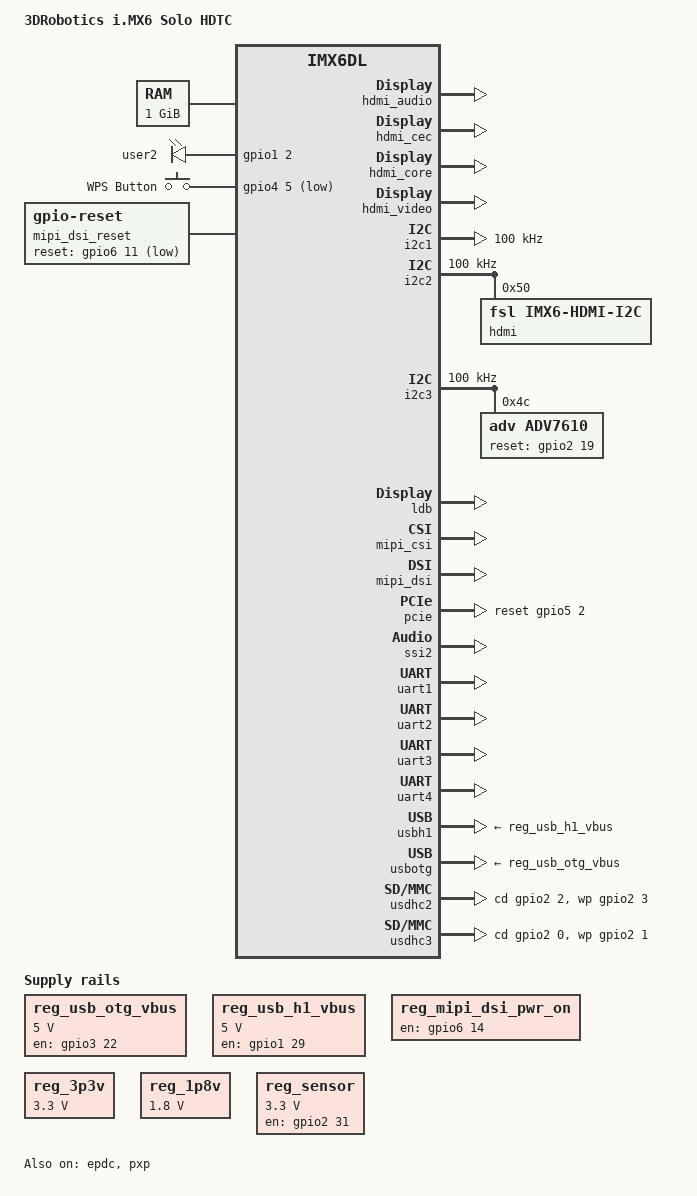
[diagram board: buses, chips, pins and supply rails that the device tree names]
/*
 * Copyright (C) 2013 Freescale Semiconductor, Inc.
 *
 * This program is free software; you can redistribute it and/or modify
 * it under the terms of the GNU General Public License version 2 as
 * published by the Free Software Foundation.
 */

/dts-v1/;

#include "imx6dl.dtsi"

/ {
	model = "3DRobotics i.MX6 Solo HDTC";
	compatible = "fsl,imx6dl-sabresd", "fsl,imx6dl";
};

/ {
	aliases {
		mxcfb0 = &mxcfb1;
		mxcfb1 = &mxcfb2;
		mxcfb2 = &mxcfb3;
		mxcfb3 = &mxcfb4;
	};

	memory {
		reg = <0x10000000 0x40000000>;
	};

	leds {
		compatible = "gpio-leds";
		
		led1: user2 {
			label = "user2";
			gpios = <&gpio1 2 GPIO_ACTIVE_HIGH>;
			default-state = "off";
			linux,default-trigger = "phy0assoc";
		};
	};

	regulators {
		compatible = "simple-bus";

		reg_usb_otg_vbus: usb_otg_vbus {
			compatible = "regulator-fixed";
			regulator-name = "usb_otg_vbus";
			regulator-min-microvolt = <5000000>;
			regulator-max-microvolt = <5000000>;
			gpio = <&gpio3 22 0>;
			enable-active-high;
		};

		reg_usb_h1_vbus: usb_h1_vbus {
			compatible = "regulator-fixed";
			regulator-name = "usb_h1_vbus";
			regulator-min-microvolt = <5000000>;
			regulator-max-microvolt = <5000000>;
			gpio = <&gpio1 29 0>;
			enable-active-high;
		};

		reg_mipi_dsi_pwr_on: mipi_dsi_pwr_on {
			compatible = "regulator-fixed";
			regulator-name = "mipi_dsi_pwr_on";
			gpio = <&gpio6 14 0>;
			enable-active-high;
		};

		reg_3p3v: 3p3v {
			compatible = "regulator-fixed";
			regulator-name = "3P3V";
			regulator-min-microvolt = <3300000>;
			regulator-max-microvolt = <3300000>;
			regulator-always-on;
		};

		reg_1p8v: 1p8v {
			compatible = "regulator-fixed";
			regulator-name = "1P8V";
			regulator-min-microvolt = <1800000>;
			regulator-max-microvolt = <1800000>;
			regulator-always-on;
		};

		reg_sensor: sensor_supply {
			compatible = "regulator-fixed";
			regulator-name = "sensor-supply";
			regulator-min-microvolt = <3300000>;
			regulator-max-microvolt = <3300000>;
			gpio = <&gpio2 31 0>;
			startup-delay-us = <500>;
			enable-active-high;
		};
	};

	gpio-keys {
		compatible = "gpio-keys";
		
		wps-pairing {
			label = "WPS Button";
			gpios = <&gpio4 5 GPIO_ACTIVE_LOW>;
			linux,code = <0x211>; //KEY_WPS_BUTTON
		};
	};

	sound-hdmi {
		compatible = "fsl,imx6q-audio-hdmi",
			     "fsl,imx-audio-hdmi";
		model = "imx-audio-hdmi";
		hdmi-controller = <&hdmi_audio>;
	};

	mxcfb1: fb@0 {
		compatible = "fsl,mxc_sdc_fb";
		disp_dev = "ldb";
		interface_pix_fmt = "RGB666";
		mode_str ="LDB-XGA";
		default_bpp = <16>;
		int_clk = <0>;
		late_init = <0>;
		status = "disabled";
	};

	mxcfb2: fb@1 {
		compatible = "fsl,mxc_sdc_fb";
		disp_dev = "hdmi";
		interface_pix_fmt = "RGB24";
		mode_str ="1920x1080M@60";
		default_bpp = <24>;
		int_clk = <0>;
		late_init = <0>;
		status = "disabled";
	};

	mxcfb3: fb@2 {
		compatible = "fsl,mxc_sdc_fb";
		disp_dev = "lcd";
		interface_pix_fmt = "RGB565";
		mode_str ="CLAA-WVGA";
		default_bpp = <16>;
		int_clk = <0>;
		late_init = <0>;
		status = "disabled";
	};

	mxcfb4: fb@3 {
		compatible = "fsl,mxc_sdc_fb";
		disp_dev = "ldb";
		interface_pix_fmt = "RGB666";
		mode_str ="LDB-XGA";
		default_bpp = <16>;
		int_clk = <0>;
		late_init = <0>;
		status = "disabled";
	};

	lcd@0 {
		compatible = "fsl,lcd";
		ipu_id = <0>;
		disp_id = <0>;
		default_ifmt = "RGB565";
		pinctrl-names = "default";
		pinctrl-0 = <&pinctrl_ipu1_1>;
		status = "okay";
	};

	v4l2_cap_0 {
		compatible = "fsl,imx6q-v4l2-capture";
		ipu_id = <0>;
		csi_id = <0>;
		mclk_source = <0>;
		status = "okay";
	};

	v4l2_cap_1 {
		compatible = "fsl,imx6q-v4l2-capture";
		ipu_id = <0>;
		csi_id = <1>;
		mclk_source = <0>;
		status = "okay";
	};

	v4l2_out {
		compatible = "fsl,mxc_v4l2_output";
		status = "okay";
	};

	mipi_dsi_reset: mipi-dsi-reset {
		compatible = "gpio-reset";
		reset-gpios = <&gpio6 11 GPIO_ACTIVE_LOW>;
		reset-delay-us = <50>;
		#reset-cells = <0>;
	};
};

&cpu0 {
        arm-supply = <&reg_arm>;
        soc-supply = <&reg_soc>;
        pu-supply = <&reg_pu>; /* use pu_dummy if VDDSOC share with VDDPU */
};

&gpu {
        pu-supply = <&reg_pu>; /* ldo-bypass:use pu_dummy if VDDSOC share with VDDPU */
};

&vpu {
        pu-supply = <&reg_pu>; /* ldo-bypass:use pu_dummy if VDDSOC share with VDDPU */
};

&gpc {
	fsl,cpu_pupscr_sw2iso = <0xf>;
	fsl,cpu_pupscr_sw = <0xf>;
	fsl,cpu_pdnscr_iso2sw = <0x1>;
	fsl,cpu_pdnscr_iso = <0x1>;
	fsl,ldo-bypass = <0>; /* use ldo-bypass, u-boot will check it and configure */
	fsl,wdog-reset = <1>; /* watchdog select of reset source */
	pu-supply = <&reg_pu>; /* ldo-bypass:use pu_dummy if VDDSOC share with VDDPU */
};

&hdmi_audio {
	status = "okay";
};

&hdmi_cec {
	pinctrl-names = "default";
	pinctrl-0 = <&pinctrl_hdmi_cec_2>;
	status = "okay";
};

&hdmi_core {
	ipu_id = <0>;
	disp_id = <0>;
	status = "okay";
};

&hdmi_video {
	fsl,phy_reg_vlev = <0x0294>;
	fsl,phy_reg_cksymtx = <0x800d>;
	status = "okay";
};

&i2c1 {
	clock-frequency = <100000>;
	pinctrl-names = "default";
	pinctrl-0 = <&pinctrl_i2c1_2>;
	status = "okay";
};

&i2c2 {
	clock-frequency = <100000>;
	pinctrl-names = "default";
	pinctrl-0 = <&pinctrl_i2c2_2>;
	status = "okay";

	hdmi: edid@50 {
		compatible = "fsl,imx6-hdmi-i2c";
		reg = <0x50>;
	};
};

&i2c3 {
        clock-frequency = <100000>;
        pinctrl-names = "default";
        pinctrl-0 = <&pinctrl_i2c3_1>;
        status = "okay";

	adv7610: adv7610@4C {
		compatible = "adv,adv7610";
		reg = <0x4C>;
		pinctrl-names = "default";
		pinctrl-0 = <&pinctrl_ipu1_4>;
		csi_id = <0>;
		ipu_id = <0>;
	        reset-gpio = <&gpio2 19 0>;
	};

};

&iomuxc {
	pinctrl-names = "default";
	pinctrl-0 = <&pinctrl_hog_1>;

	hog {
		pinctrl_hog_1: hoggrp-1 {
			fsl,pins = <
				MX6QDL_PAD_GPIO_4__GPIO1_IO04   0x80000000
				MX6QDL_PAD_GPIO_5__GPIO1_IO05   0x80000000
				MX6QDL_PAD_EIM_D26__GPIO3_IO26 0x80000000
				MX6QDL_PAD_EIM_CS1__GPIO2_IO24 0x80000000
				MX6QDL_PAD_EIM_A25__GPIO5_IO02 0x80000000
				MX6QDL_PAD_EIM_D23__GPIO3_IO23 0x80000000
				MX6QDL_PAD_EIM_D22__GPIO3_IO22  0x80000000
				MX6QDL_PAD_EIM_D16__GPIO3_IO16 0x80000000
				MX6QDL_PAD_EIM_DA9__GPIO3_IO09 0x80000000
				MX6QDL_PAD_GPIO_4__GPIO1_IO04 0x80000000
				MX6QDL_PAD_GPIO_5__GPIO1_IO05 0x80000000
				MX6QDL_PAD_EIM_D29__GPIO3_IO29 0x80000000
				MX6QDL_PAD_SD3_RST__GPIO7_IO08 0x80000000
				MX6QDL_PAD_GPIO_9__GPIO1_IO09 0x80000000
				MX6QDL_PAD_GPIO_1__WDOG2_B 0x80000000
				MX6QDL_PAD_GPIO_2__GPIO1_IO02 0x80000000
				MX6QDL_PAD_NANDF_CS3__GPIO6_IO16 0x80000000
				MX6QDL_PAD_NANDF_WP_B__GPIO6_IO09 0x80000000	
				MX6QDL_PAD_EIM_A19__GPIO2_IO19 0x80000000	
			>;
		};
	};
};

&ldb {
	ipu_id = <1>;
	disp_id = <1>;
	ext_ref = <1>;
	mode = "sep1";
	sec_ipu_id = <1>;
	sec_disp_id = <0>;
	status = "okay";
};

&mipi_csi {
	status = "okay";
	ipu_id = <0>;
	csi_id = <1>;
	v_channel = <0>;
	lanes = <2>;
};

&mipi_dsi {
	dev_id = <0>;
	disp_id = <1>;
	lcd_panel = "TRULY-WVGA";
	disp-power-on-supply = <&reg_mipi_dsi_pwr_on>;
	resets = <&mipi_dsi_reset>;
	status = "okay";
};

&pcie {
	//power-on-gpio = <&gpio5 20 0>;
	reset-gpio = <&gpio5 2 0>;
	status = "okay";
};

&ssi2 {
	fsl,mode = "i2s-slave";
	status = "okay";
};

&uart1 {
	pinctrl-names = "default";
	pinctrl-0 = <&pinctrl_uart1_1>;
	status = "okay";
};

&uart2 {
        pinctrl-names = "default";
        //pinctrl-0 = <&pinctrl_uart2_4>;
        pinctrl-0 = <&pinctrl_uart2_3>; //RTS and CTS
	//pinctrl-assert-gpios = <&gpio2 13 GPIO_ACTIVE_HIGH>,
	//		       <&gpio2 14 GPIO_ACTIVE_HIGH>;
	fsl,uart-has-rtscts;
        status = "okay";
};

&uart3 {
        pinctrl-names = "default";
        pinctrl-0 = <&pinctrl_uart3_2>;
        status = "okay";
};

&uart4 {
        pinctrl-names = "default";
        pinctrl-0 = <&pinctrl_uart4_1>;
        status = "okay";
};

&usbh1 {
	vbus-supply = <&reg_usb_h1_vbus>;
	status = "okay";
};

&usbotg {
	vbus-supply = <&reg_usb_otg_vbus>;
	pinctrl-names = "default";
	pinctrl-0 = <&pinctrl_usbotg_2>;
	disable-over-current;
	status = "okay";
};

&usdhc2 {
	pinctrl-names = "default";
	pinctrl-0 = <&pinctrl_usdhc2_1>;
	cd-gpios = <&gpio2 2 0>;
	wp-gpios = <&gpio2 3 0>;
	no-1-8-v;
	keep-power-in-suspend;
	enable-sdio-wakeup;
	status = "okay";
};

&usdhc3 {
	pinctrl-names = "default";
	pinctrl-0 = <&pinctrl_usdhc3_1>;
	cd-gpios = <&gpio2 0 0>;
	wp-gpios = <&gpio2 1 0>;
	no-1-8-v;
	keep-power-in-suspend;
	enable-sdio-wakeup;
	status = "okay";
};

&epdc {
	pinctrl-names = "default";
	pinctrl-0 = <&pinctrl_epdc_0>;
	status = "okay";
};

&ldb {
	ipu_id = <0>;
	sec_ipu_id = <0>;
};

&mxcfb1 {
	status = "okay";
};

&mxcfb2 {
	status = "okay";
};

&pxp {
	status = "okay";
};
